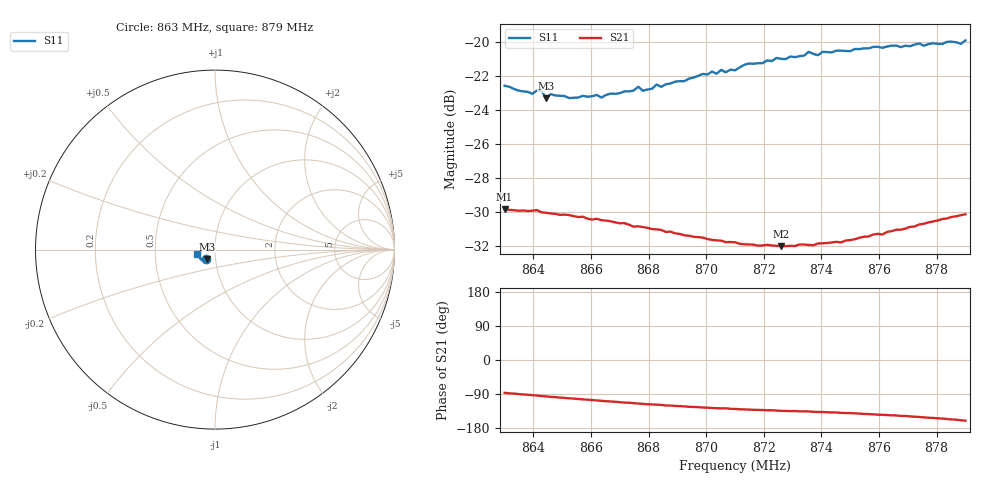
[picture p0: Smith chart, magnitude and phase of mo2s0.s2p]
# HZ S RI R 50
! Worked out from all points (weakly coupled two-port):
!   101 points, 863 MHz to 879 MHz, reference 50 ohm
!   highest |S21| = -29.88 dB at 863 MHz (marker M1); lowest = -32.0 dB at 872.6 MHz (marker M2)
!   lowest |S11| = -23.3 dB at 864.44 MHz (marker M3), VSWR 1.15, Z = 45.5 - j4.72 ohm
!   |S11| at or under -10 dB: start of sweep to end of sweep
!   S12 and S22 are empty: the file has one direction only
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8.63e8  -0.0509 -0.054  0.00191 -0.032  0 0  0 0
8.6396e8  -0.0467 -0.0525  -0.0015 -0.0318  0 0  0 0
8.6428e8  -0.0473 -0.0539  -0.00282 -0.0313  0 0  0 0
8.6444e8  -0.0445 -0.0516  -0.00324 -0.0312  0 0  0 0
8.646e8  -0.0455 -0.0533  -0.00397 -0.031  0 0  0 0
8.6524e8  -0.0431 -0.0529  -0.0059 -0.0303  0 0  0 0
8.6572e8  -0.0426 -0.0547  -0.00731 -0.0296  0 0  0 0
8.6636e8  -0.0423 -0.0538  -0.0091 -0.0284  0 0  0 0
8.6764e8  -0.0438 -0.0592  -0.012 -0.026  0 0  0 0
8.678e8  -0.0429 -0.0575  -0.0124 -0.0256  0 0  0 0
8.6828e8  -0.0444 -0.0602  -0.0131 -0.0248  0 0  0 0
8.6844e8  -0.043 -0.0598  -0.0134 -0.0245  0 0  0 0
8.702e8  -0.0513 -0.0636  -0.0155 -0.021  0 0  0 0
8.71e8  -0.054 -0.0622  -0.0162 -0.0199  0 0  0 0
8.7148e8  -0.0591 -0.0629  -0.0165 -0.0191  0 0  0 0
8.726e8  -0.0649 -0.061  -0.0174 -0.0179  0 0  0 0
8.734e8  -0.069 -0.0594  -0.0181 -0.0177  0 0  0 0
8.7356e8  -0.0721 -0.0594  -0.0181 -0.0176  0 0  0 0
8.7372e8  -0.0706 -0.0591  -0.0183 -0.0173  0 0  0 0
8.7644e8  -0.0869 -0.044  -0.023 -0.0155  0 0  0 0
8.7884e8  -0.0948 -0.0271  -0.0288 -0.011  0 0  0 0
8.79e8  -0.0976 -0.0256  -0.0292 -0.0106  0 0  0 0
